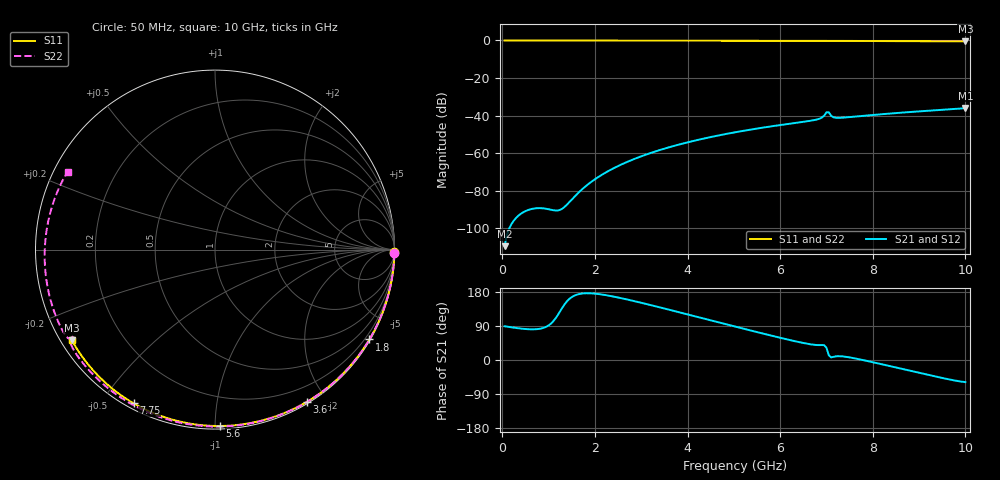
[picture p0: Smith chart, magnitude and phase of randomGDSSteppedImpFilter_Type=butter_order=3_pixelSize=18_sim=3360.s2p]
! freq	dB(S11)	phase(S11)	dB(S12)	phase(S12)
!  dB(S21)	phase(S21)	dB(S22)	phase(S22)
!S-par simulation data
#  GHz  S  DB  R 50
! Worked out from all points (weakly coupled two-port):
!   200 points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, 50 MHz to 10 GHz, reference 50 ohm
!   highest |S21| = -35.93 dB at 10 GHz (marker M1); lowest = -109.5 dB at 50 MHz (marker M2)
!   lowest |S11| = -0.5 dB at 10 GHz (marker M3), VSWR 34.70, Z = 1.56 - j14.5 ohm
!   |S11| at or under -10 dB: nowhere
!   |S22| runs from -0.7 to 0.0 dB; largest |S21 - S12| = 0
!   S11 on the Smith chart (normalised r, x): 50 MHz: open; 1.8 GHz: 0.03, -3.71; 3.6 GHz: 0.02, -1.77; 5.6 GHz: 0.02, -1.03; 7.75 GHz: 0.02, -0.60; 10 GHz: 0.03, -0.29
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0.05  -0.00 -0.9  -109.48 89.0  -109.48 89.0  -0.00 -1.2
0.8  -0.02 -13.5  -89.22 82.2  -89.22 82.2  -0.02 -19.0
1.65  -0.04 -27.7  -80.87 173.8  -80.87 173.8  -0.05 -38.8
1.75  -0.04 -29.4  -78.63 175.7  -78.63 175.7  -0.05 -41.1
1.8  -0.04 -30.2  -77.58 176.1  -77.58 176.1  -0.05 -42.2
2.1  -0.05 -35.1  -72.25 173.7  -72.25 173.7  -0.06 -49.0
2.45  -0.05 -40.7  -67.44 166.2  -67.44 166.2  -0.07 -56.8
3.4  -0.07 -55.8  -58.33 139.0  -58.33 139.0  -0.10 -77.3
3.6  -0.08 -58.9  -56.86 132.8  -56.86 132.8  -0.11 -81.4
4.3  -0.10 -69.5  -52.48 110.9  -52.48 110.9  -0.13 -95.7
5.05  -0.12 -80.6  -48.77 87.5  -48.77 87.5  -0.17 -110.5
5.6  -0.15 -88.5  -46.49 70.6  -46.49 70.6  -0.20 -121.1
6.7  -0.20 -103.8  -42.54 40.7  -42.54 40.7  -0.28 -142.2
6.9  -0.22 -106.5  -41.06 39.5  -41.06 39.5  -0.35 -146.5
7  -0.22 -107.8  -38.25 32.3  -38.25 32.3  -0.62 -148.6
7.05  -0.22 -108.5  -38.21 12.8  -38.21 12.8  -0.66 -147.4
7.1  -0.23 -109.2  -40.04 6.9  -40.04 6.9  -0.45 -148.0
7.2  -0.23 -110.6  -41.16 9.6  -41.16 9.6  -0.35 -150.4
7.75  -0.27 -117.9  -40.22 0.9  -40.22 0.9  -0.36 -161.4
8.35  -0.32 -125.9  -38.94 -15.6  -38.94 -15.6  -0.42 -173.1
9.2  -0.41 -137.0  -37.40 -39.4  -37.40 -39.4  -0.52 169.8
10  -0.50 -147.6  -35.93 -58.4  -35.93 -58.4  -0.66 152.2
